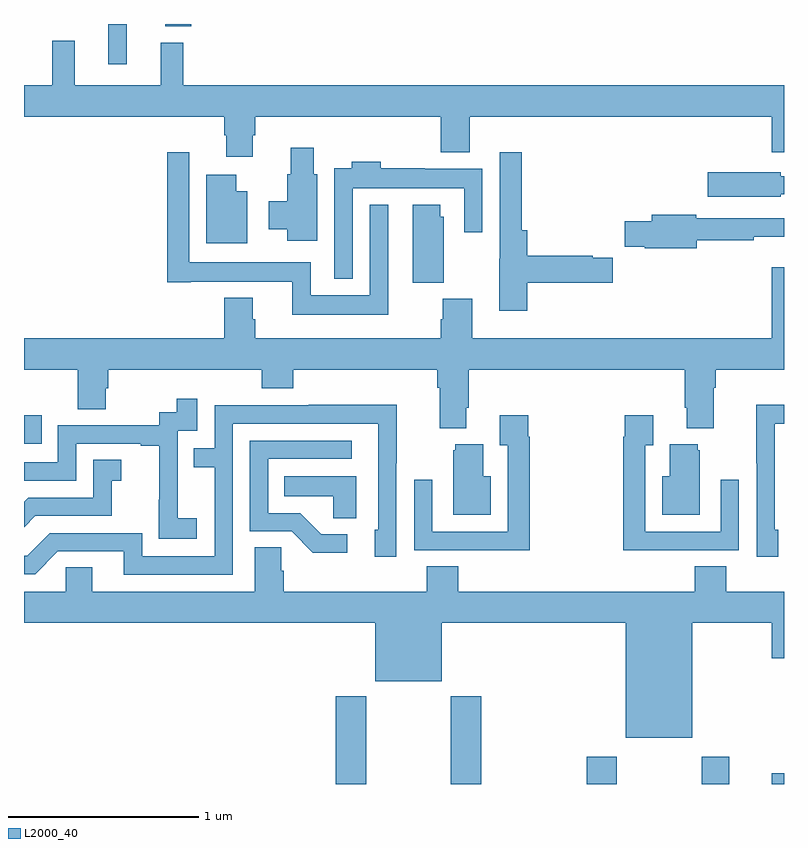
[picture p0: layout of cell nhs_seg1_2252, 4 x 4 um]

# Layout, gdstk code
import gdstk
lib = gdstk.Library(unit=1e-6, precision=1e-09)
def R(c, l, rs):  # rectangles x0, y0, x1, y1
    for r in rs: c.add(gdstk.rectangle(r[:2], r[2:], *l))
def P(c, l, *ps):  # polygons
    for p in ps: c.add(gdstk.Polygon(p, *l))
L2000_40 = (2000, 40)

nhs_seg1_2252 = lib.new_cell('nhs_seg1_2252')
R(nhs_seg1_2252, L2000_40, [(234.641,568.199,234.801,568.66), (235.246,568.199,235.406,568.66), (235.961,568.199,236.121,568.342), (236.566,568.199,236.713,568.342), (236.936,568.199,237,568.255), (233,569.991,233.093,570.139), (233.444,571.986,233.541,572.199), (233.744,572.186,233.879,572.199)])
P(nhs_seg1_2252, L2000_40, [(234.205,571.614),(234.218,571.614),(234.218,571.712),(235.193,571.712),(235.193,571.523),(235.345,571.523),(235.345,571.712),(236.936,571.712),(236.936,571.524),(237,571.524),(237,571.876),(233.837,571.876),(233.837,572.101),(233.72,572.101),(233.72,571.876),(233.267,571.876),(233.267,572.11),(233.149,572.11),(233.149,571.876),(233,571.876),(233,571.712),(234.053,571.712),(234.053,571.614),(234.065,571.614),(234.065,571.5),(234.205,571.5)],
  [(234.544,571.407),(234.526,571.407),(234.526,571.549),(234.404,571.549),(234.404,571.407),(234.386,571.407),(234.386,571.266),(234.287,571.266),(234.287,571.118),(234.386,571.118),(234.386,571.059),(234.544,571.059)],
  [(234.916,571.249),(234.819,571.249),(234.819,570.772),(234.51,570.772),(234.51,570.946),(233.871,570.946),(233.871,571.525),(233.755,571.525),(233.755,570.84),(233.878,570.84),(233.878,570.842),(234.413,570.842),(234.413,570.668),(234.916,570.668)],
  [(235.649,570.838),(236.099,570.838),(236.099,570.968),(235.994,570.968),(235.994,570.98),(235.649,570.98),(235.649,571.114),(235.619,571.114),(235.619,571.525),(235.503,571.525),(235.503,570.963),(235.502,570.963),(235.502,570.69),(235.649,570.69)],
  [(234.729,571.334),(235.317,571.334),(235.317,571.104),(235.413,571.104),(235.413,571.438),(235.109,571.438),(235.109,571.441),(234.878,571.441),(234.878,571.474),(234.725,571.474),(234.725,571.441),(234.633,571.441),(234.633,570.857),(234.729,570.857)],
  [(236.982,571.302),(237,571.302),(237,571.398),(236.982,571.398),(236.982,571.419),(236.598,571.419),(236.598,571.289),(236.982,571.289)],
  [(234.175,571.318),(234.118,571.318),(234.118,571.405),(233.96,571.405),(233.96,571.046),(234.175,571.046)],
  [(235.21,571.185),(235.192,571.185),(235.192,571.249),(235.046,571.249),(235.046,570.838),(235.21,570.838)],
  [(236.542,571.06),(236.84,571.06),(236.84,571.079),(237,571.079),(237,571.176),(236.538,571.176),(236.538,571.196),(236.303,571.196),(236.303,571.16),(236.161,571.16),(236.161,571.026),(236.266,571.026),(236.266,571.018),(236.542,571.018)],
  [(235.327,570.178),(235.34,570.178),(235.34,570.38),(236.477,570.38),(236.477,570.178),(236.489,570.178),(236.489,570.071),(236.629,570.071),(236.629,570.284),(236.642,570.284),(236.642,570.38),(237,570.38),(237,570.919),(236.936,570.919),(236.936,570.544),(235.358,570.544),(235.358,570.753),(235.205,570.753),(235.205,570.644),(235.193,570.644),(235.193,570.544),(234.218,570.544),(234.218,570.645),(234.205,570.645),(234.205,570.757),(234.053,570.757),(234.053,570.544),(233,570.544),(233,570.38),(233.284,570.38),(233.284,570.172),(233.431,570.172),(233.431,570.282),(233.444,570.282),(233.444,570.38),(234.251,570.38),(234.251,570.281),(234.416,570.281),(234.416,570.38),(235.175,570.38),(235.175,570.284),(235.187,570.284),(235.187,570.071),(235.327,570.071)],
  [(233.908,569.599),(233.81,569.599),(233.81,569.828),(233.808,569.828),(233.808,570.057),(233.913,570.057),(233.913,570.226),(233.805,570.226),(233.805,570.156),(233.712,570.156),(233.712,570.087),(233.178,570.087),(233.178,569.892),(233,569.892),(233,569.796),(233.274,569.796),(233.274,569.991),(233.615,569.991),(233.615,569.979),(233.711,569.979),(233.711,569.695),(233.71,569.695),(233.71,569.489),(233.908,569.489)],
  [(234.099,570.096),(234.864,570.096),(234.864,569.538),(234.845,569.538),(234.845,569.394),(234.96,569.394),(234.96,569.887),(234.963,569.887),(234.963,570.194),(234.499,570.194),(234.499,570.192),(234.003,570.192),(234.003,569.967),(233.893,569.967),(233.893,569.866),(234.003,569.866),(234.003,569.397),(233.622,569.397),(233.622,569.52),(233.136,569.52),(233.016,569.4),(233,569.4),(233,569.304),(233.058,569.304),(233.178,569.424),(233.525,569.424),(233.525,569.301),(234.099,569.301)],
  [(236.971,569.538),(236.952,569.538),(236.952,570.096),(237,570.096),(237,570.194),(236.854,570.194),(236.854,569.887),(236.856,569.887),(236.856,569.394),(236.971,569.394)],
  [(235.661,570.026),(235.654,570.026),(235.654,570.139),(235.505,570.139),(235.505,569.983),(235.545,569.983),(235.545,569.526),(235.149,569.526),(235.149,569.8),(235.053,569.8),(235.053,569.43),(235.369,569.43),(235.369,569.429),(235.661,569.429)],
  [(236.447,569.43),(236.763,569.43),(236.763,569.8),(236.667,569.8),(236.667,569.526),(236.271,569.526),(236.271,569.983),(236.311,569.983),(236.311,570.139),(236.163,570.139),(236.163,570.026),(236.155,570.026),(236.155,569.429),(236.447,569.429)],
  [(234.7,569.514),(234.565,569.514),(234.454,569.625),(234.285,569.625),(234.285,569.91),(234.724,569.91),(234.724,570.006),(234.189,570.006),(234.189,569.529),(234.408,569.529),(234.521,569.417),(234.7,569.417)],
  [(236.557,569.955),(236.546,569.955),(236.546,569.986),(236.399,569.986),(236.399,569.818),(236.36,569.818),(236.36,569.615),(236.557,569.615)],
  [(235.456,569.818),(235.417,569.818),(235.417,569.986),(235.271,569.986),(235.271,569.955),(235.259,569.955),(235.259,569.615),(235.456,569.615)],
  [(233.059,569.61),(233.463,569.61),(233.463,569.795),(233.512,569.795),(233.512,569.905),(233.364,569.905),(233.364,569.706),(233.022,569.706),(233,569.684),(233,569.551)],
  [(234.748,569.818),(234.37,569.818),(234.37,569.714),(234.627,569.714),(234.627,569.599),(234.748,569.599)],
  [(234.848,568.739),(235.198,568.739),(235.198,569.048),(236.168,569.048),(236.168,568.442),(236.518,568.442),(236.518,569.048),(236.936,569.048),(236.936,568.86),(237,568.86),(237,569.212),(236.696,569.212),(236.696,569.345),(236.531,569.345),(236.531,569.212),(235.286,569.212),(235.286,569.345),(235.121,569.345),(235.121,569.212),(234.368,569.212),(234.368,569.321),(234.354,569.321),(234.354,569.444),(234.215,569.444),(234.215,569.212),(233.359,569.212),(233.359,569.339),(233.22,569.339),(233.22,569.212),(233,569.212),(233,569.048),(234.848,569.048)])

lib.write_gds('nhs_seg1_2252.gds')
